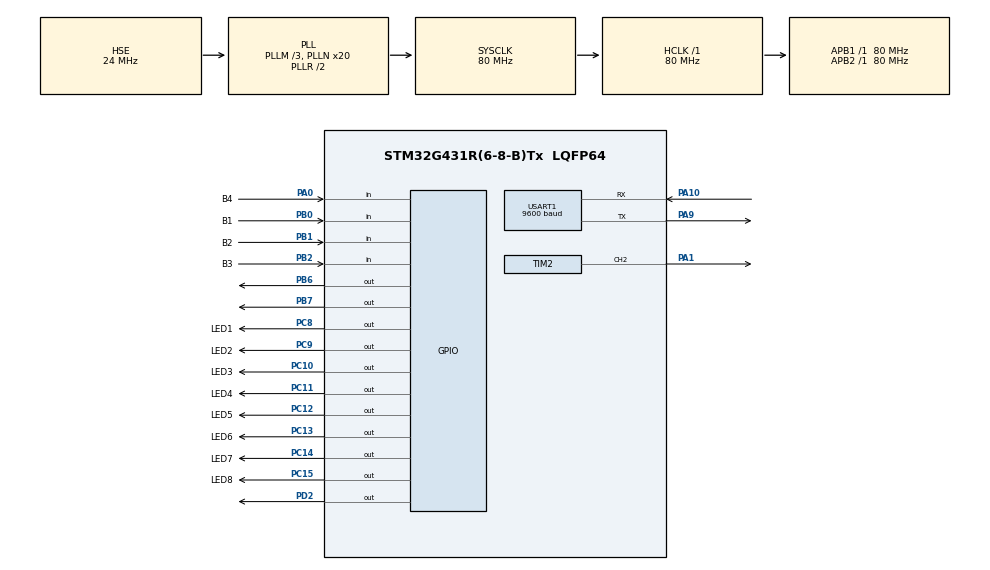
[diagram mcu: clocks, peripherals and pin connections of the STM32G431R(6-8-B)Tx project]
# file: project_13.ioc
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Mcu.Family=STM32G4
Mcu.Name=STM32G431R(6-8-B)Tx
Mcu.Package=LQFP64
NVIC.PriorityGroup=NVIC_PRIORITYGROUP_4
NVIC.TIM1_UP_TIM16_IRQn=true\:0\:0\:false\:false\:true\:true\:true
NVIC.USART1_IRQn=true\:0\:0\:false\:false\:true\:true\:true
PA0.GPIO_Label=B4
PA0.Signal=GPIO_Input
PA1.Signal=S_TIM2_CH2
PA10.Mode=Asynchronous
PA10.Signal=USART1_RX
PA9.Mode=Asynchronous
PA9.Signal=USART1_TX
PB0.GPIO_Label=B1
PB0.Signal=GPIO_Input
PB1.GPIO_Label=B2
PB1.Signal=GPIO_Input
PB2.GPIO_Label=B3
PB2.Signal=GPIO_Input
PB6.Signal=GPIO_Output
PB7.Signal=GPIO_Output
PC10.GPIO_Label=LED3
PC10.Signal=GPIO_Output
PC11.GPIO_Label=LED4
PC11.Signal=GPIO_Output
PC12.GPIO_Label=LED5
PC12.Signal=GPIO_Output
PC13.GPIO_Label=LED6
PC13.Signal=GPIO_Output
PC14-OSC32_IN.GPIO_Label=LED7
PC14-OSC32_IN.Signal=GPIO_Output
PC15-OSC32_OUT.GPIO_Label=LED8
PC15-OSC32_OUT.Signal=GPIO_Output
PC8.GPIO_Label=LED1
PC8.Signal=GPIO_Output
PC9.GPIO_Label=LED2
PC9.Signal=GPIO_Output
PD2.Signal=GPIO_Output
PF0-OSC_IN.Mode=HSE-External-Oscillator
PF0-OSC_IN.Signal=RCC_OSC_IN
PF1-OSC_OUT.Mode=HSE-External-Oscillator
PF1-OSC_OUT.Signal=RCC_OSC_OUT
ProjectManager.HeapSize=0x200
ProjectManager.StackSize=0x400
ProjectManager.TargetToolchain=MDK-ARM V5.32
RCC.ADC12Freq_Value=80000000
RCC.AHBFreq_Value=80000000
RCC.APB1Freq_Value=80000000
RCC.APB1TimFreq_Value=80000000
RCC.APB2Freq_Value=80000000
RCC.APB2TimFreq_Value=80000000
RCC.CortexFreq_Value=80000000
RCC.EXTERNAL_CLOCK_VALUE=12288000
RCC.HCLKFreq_Value=80000000
RCC.HSE_VALUE=24000000
RCC.HSI48_VALUE=48000000
RCC.HSI_VALUE=16000000
RCC.LSE_VALUE=32768
RCC.PLLM=RCC_PLLM_DIV3
RCC.PLLN=20
RCC.PLLSourceVirtual=RCC_PLLSOURCE_HSE
RCC.SYSCLKFreq_VALUE=80000000
RCC.SYSCLKSource=RCC_SYSCLKSOURCE_PLLCLK
RCC.USBFreq_Value=80000000
RCC.VCOOutputFreq_Value=160000000
SH.S_TIM2_CH2.0=TIM2_CH2,PWM Generation2 CH2
TIM1.AutoReloadPreload=TIM_AUTORELOAD_PRELOAD_ENABLE
TIM1.PeriodNoDither=10000-1
TIM1.Prescaler=80-1
TIM2.Channel-PWM\ Generation2\ CH2=TIM_CHANNEL_2
TIM2.PeriodNoDither=500-1
TIM2.Prescaler=80-1
TIM2.PulseNoDither_2=150
USART1.BaudRate=9600
USART1.VirtualMode-Asynchronous=VM_ASYNC
VP_SYS_VS_DBSignals.Mode=DisableDeadBatterySignals
VP_TIM1_VS_ClockSourceINT.Mode=Internal
VP_TIM2_VS_ClockSourceINT.Mode=Internal
board=custom

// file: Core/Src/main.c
/* USER CODE BEGIN Header */
/**
  ******************************************************************************
  * @file           : main.c
  * @brief          : Main program body
  ******************************************************************************
  * @attention
  *
  * <h2><center>&copy; Copyright (c) 2022 STMicroelectronics.
  * All rights reserved.</center></h2>
  *
  * This software component is licensed by ST under BSD 3-Clause license,
  * the "License"; You may not use this file except in compliance with the
  * License. You may obtain a copy of the License at:
  *                        opensource.org/licenses/BSD-3-Clause
  *
  ******************************************************************************
  */
/* USER CODE END Header */
#include "main.h"
#include "tim.h"
#include "usart.h"
#include "gpio.h"

/* USER CODE BEGIN Includes */
#include "stdio.h"
#include "lcd.h"
#include "string.h"
#include "i2c_hal.h"

/* USER CODE END Includes */

/* USER CODE BEGIN PTD */
typedef struct
{
	uint16_t X_sum;//库存总量
	uint16_t Y_sum;
	uint16_t X_buy;//购买数量
	uint16_t Y_buy;
	float X_price;//单价
	float Y_price;
}XYtypedef;

XYtypedef good;
/* USER CODE END PTD */

/* USER CODE BEGIN PD */
#define B1 !HAL_GPIO_ReadPin(GPIOB,B1_Pin)
#define B2 !HAL_GPIO_ReadPin(GPIOB,B2_Pin)
#define B3 !HAL_GPIO_ReadPin(GPIOB,B3_Pin)
#define B4 !HAL_GPIO_ReadPin(GPIOA,B4_Pin)
#define Freq 500
/* USER CODE END PD */

/* USER CODE BEGIN PV */
uint8_t str[50];
uint8_t RX[20];
uint8_t Lcd_mode = 0;//三个模式，0、1、2
uint16_t T_PWM = 500;//按下B4输出30%PWM5秒
uint8_t T_Led2 = 10;//以0.1秒为间隔闪烁
uint8_t flag_B4 = 0;
uint8_t flag_Led2 = 0;
float price = 2.0;
float Z = 0;//购买的商品总价
/* USER CODE END PV */

void SystemClock_Config(void);

/* USER CODE BEGIN 0 */
//重定向函数
int fputc(int ch, FILE *stream)
{
    while(!(USART1->ISR & (1<<7)));
    USART1->TDR = (uint8_t) ch;
    return ch;
}

//关闭LED
void LED_Close(void)
{
	HAL_GPIO_WritePin(GPIOC,LED1_Pin|LED2_Pin|LED3_Pin|LED4_Pin|LED5_Pin|LED6_Pin|LED7_Pin|LED8_Pin,GPIO_PIN_SET);
	HAL_GPIO_WritePin(GPIOD,GPIO_PIN_2,GPIO_PIN_SET);
	HAL_GPIO_WritePin(GPIOD,GPIO_PIN_2,GPIO_PIN_RESET);
}

void LED1(void)
{
	HAL_GPIO_WritePin(GPIOC,LED1_Pin,GPIO_PIN_RESET);
	HAL_GPIO_WritePin(GPIOC,LED2_Pin|LED3_Pin|LED4_Pin|LED5_Pin|LED6_Pin|LED7_Pin|LED8_Pin,GPIO_PIN_SET);
	HAL_GPIO_WritePin(GPIOD,GPIO_PIN_2,GPIO_PIN_SET);
	HAL_GPIO_WritePin(GPIOD,GPIO_PIN_2,GPIO_PIN_RESET);
}

void LED2(void)
{
	switch(flag_Led2)
	{
		case 0:
			HAL_GPIO_WritePin(GPIOC,LED2_Pin,GPIO_PIN_SET);
			break;
		case 1:
			HAL_GPIO_WritePin(GPIOC,LED2_Pin,GPIO_PIN_RESET);
			break;
	}
	if(flag_B4)
	{
		HAL_GPIO_WritePin(GPIOC,LED3_Pin|LED4_Pin|LED5_Pin|LED6_Pin|LED7_Pin|LED8_Pin,GPIO_PIN_SET);
	}else HAL_GPIO_WritePin(GPIOC,LED1_Pin|LED3_Pin|LED4_Pin|LED5_Pin|LED6_Pin|LED7_Pin|LED8_Pin,GPIO_PIN_SET);

	HAL_GPIO_WritePin(GPIOD,GPIO_PIN_2,GPIO_PIN_SET);
	HAL_GPIO_WritePin(GPIOD,GPIO_PIN_2,GPIO_PIN_RESET);
}

void good_Init(void)
{
	good.X_buy = 0;
	good.Y_buy = 0;
	good.X_sum = 10;
	good.Y_sum = 10;
	good.X_price = 1.0;
	good.Y_price = 1.0;
}

//LCD显示函数

void Lcd1(void)
{
	LCD_DisplayStringLine(Line1,(uint8_t*)"        SHOP         ");

	sprintf((char*)str,"     X:%d       ",good.X_buy);
	LCD_DisplayStringLine(Line3,str);

	sprintf((char*)str,"     Y:%d       ",good.Y_buy);
	LCD_DisplayStringLine(Line4,str);
}

void Lcd2(void)
{
	LCD_DisplayStringLine(Line1,(uint8_t*)"        PRICE         ");

	sprintf((char*)str,"     X:%0.1f       ",good.X_price);
	LCD_DisplayStringLine(Line3,str);

	sprintf((char*)str,"     Y:%0.1f       ",good.Y_price);
	LCD_DisplayStringLine(Line4,str);
}

void Lcd3(void)
{
	LCD_DisplayStringLine(Line1,(uint8_t*)"        REP         ");

	sprintf((char*)str,"     X:%d       ",good.X_sum);
	LCD_DisplayStringLine(Line3,str);

	sprintf((char*)str,"     Y:%d       ",good.Y_sum);
	LCD_DisplayStringLine(Line4,str);
}

void HAL_TIM_PeriodElapsedCallback(TIM_HandleTypeDef *htim)
{
	if(flag_B4)
	{
		__HAL_TIM_SET_COMPARE(&htim2,TIM_CHANNEL_2,Freq*0.3);
		LED1();
		if(--T_PWM == 0)
		{
			flag_B4 = 0;
			T_PWM = 500;
			LED_Close();
			__HAL_TIM_SET_COMPARE(&htim2,TIM_CHANNEL_2,Freq*0.05);
		}
	}

	if((good.X_sum == 0) && (good.Y_sum == 0))
	{
		if(--T_Led2 == 0)
		{
			flag_Led2 = !flag_Led2;
		  LED2();
			T_Led2 = 10;
		}
	}else
	{
		flag_Led2 = 0;
		LED2();
	}
}

//串口回调函数
void HAL_UART_RxCpltCallback(UART_HandleTypeDef *huart)
{
	if(RX[0] == '?')
	{
		printf("X:%0.1f,Y:%0.1f\r\n",good.X_price,good.Y_price);
	}

	HAL_UART_Receive_IT(&huart1,RX,1);
}

//EEPROM读函数

void EEPROM_R(void)
{
	good.X_sum = EEPROM_Read(0x00);
	good.Y_sum = EEPROM_Read(0x01);
	good.X_price = (float)EEPROM_Read(0x02)/10;
	good.Y_price = (float)EEPROM_Read(0x03)/10;
}

//按键扫描函数
void Keyscan(void)
{
	if(B1)
	{
		printf("B1_Down!\r\n");
		if(++Lcd_mode == 3)
		{
			Lcd_mode = 0;
		}
		while(B1);
	}
	if(B2)
	{
		printf("B2_Down!\r\n");
		switch(Lcd_mode)
		{
			case 0:
			if(good.X_buy == good.X_sum)
			{
				good.X_buy = 0;
			}else good.X_buy++;
				break;
			case 1:
				if(good.X_price >= 2.0f)
				{
					good.X_price = 1.0;
					EEPROM_Write(0x02,(uint8_t)(good.X_price*10));
				}else
				{
					good.X_price += 0.1f;
					EEPROM_Write(0x02,(uint8_t)(good.X_price*10));
				}
				break;
			case 2:
				good.X_sum++;
				EEPROM_Write(0x00,good.X_sum);
				break;
		}
		while(B2);
	}
	if(B3)
	{
		printf("B3_Down!\r\n");
		switch(Lcd_mode)
		{
			case 0:
			 if(good.Y_buy == good.Y_sum)
			 {
					good.Y_buy = 0;
			 }else good.Y_buy++;
				break;
			case 1:
				if(good.Y_price >= 2.0f)
				{
					good.Y_price = 1.0;
					EEPROM_Write(0x03,(uint8_t)(good.Y_price*10));
				}else
				{
					good.Y_price += 0.1f;
					EEPROM_Write(0x03,(uint8_t)(good.Y_price*10));
				}
				break;
			case 2:
				good.Y_sum++;
				EEPROM_Write(0x01,good.Y_sum);
				break;
		}
		while(B3);
	}
	if(B4)
	{
		printf("B4_Down!\r\n");
		if(Lcd_mode == 0)
		{
			flag_B4 = 1;
			good.X_sum -= good.X_buy;
			good.Y_sum -= good.Y_buy;
			EEPROM_Write(0x00,good.X_sum);
			Z = (good.X_buy*good.X_price) + (good.Y_buy*good.Y_price);
			printf("X:%d,Y:%d,Z:%0.1f\r\n",good.X_buy,good.Y_buy,Z);
			good.X_buy = 0;
			good.Y_buy = 0;
			EEPROM_Write(0x01,good.Y_sum);
		}
		while(B4);
	}
}
/* USER CODE END 0 */

int main(void)
{

  /* MCU Configuration--------------------------------------------------------*/

  /* Reset of all peripherals, Initializes the Flash interface and the Systick. */
  HAL_Init();

  /* Configure the system clock */
  SystemClock_Config();

  /* Initialize all configured peripherals */
  MX_GPIO_Init();
  MX_TIM1_Init();
  MX_TIM2_Init();
  MX_USART1_UART_Init();
  /* USER CODE BEGIN 2 */

	I2CInit();
	LCD_Init();
	LCD_Clear(Black);
	LCD_SetBackColor(Black);
	LCD_SetTextColor(White);

	good_Init();
	printf("USART OK!\r\n");

	LED_Close();
	EEPROM_R();
	HAL_TIM_PWM_Start(&htim2,TIM_CHANNEL_2);
	__HAL_TIM_SET_COMPARE(&htim2,TIM_CHANNEL_2,Freq*0.05);

	HAL_TIM_Base_Start_IT(&htim1);

	HAL_UART_Receive_IT(&huart1,RX,1);
  /* USER CODE END 2 */

  /* Infinite loop */
  while (1)
  {
		Keyscan();
		switch(Lcd_mode)
		{
			case 0:
				Lcd1();
				break;
			case 1:
				Lcd2();
				break;
			case 2:
				Lcd3();
				break;
		}
  }
}

void SystemClock_Config(void)
{
  RCC_OscInitTypeDef RCC_OscInitStruct = {0};
  RCC_ClkInitTypeDef RCC_ClkInitStruct = {0};
  RCC_PeriphCLKInitTypeDef PeriphClkInit = {0};

  /** Configure the main internal regulator output voltage
  */
  HAL_PWREx_ControlVoltageScaling(PWR_REGULATOR_VOLTAGE_SCALE1);
  /** Initializes the RCC Oscillators according to the specified parameters
  * in the RCC_OscInitTypeDef structure.
  */
  RCC_OscInitStruct.OscillatorType = RCC_OSCILLATORTYPE_HSE;
  RCC_OscInitStruct.HSEState = RCC_HSE_ON;
  RCC_OscInitStruct.PLL.PLLState = RCC_PLL_ON;
  RCC_OscInitStruct.PLL.PLLSource = RCC_PLLSOURCE_HSE;
  RCC_OscInitStruct.PLL.PLLM = RCC_PLLM_DIV3;
  RCC_OscInitStruct.PLL.PLLN = 20;
  RCC_OscInitStruct.PLL.PLLP = RCC_PLLP_DIV2;
  RCC_OscInitStruct.PLL.PLLQ = RCC_PLLQ_DIV2;
  RCC_OscInitStruct.PLL.PLLR = RCC_PLLR_DIV2;
  if (HAL_RCC_OscConfig(&RCC_OscInitStruct) != HAL_OK)
  {
    Error_Handler();
  }
  /** Initializes the CPU, AHB and APB buses clocks
  */
  RCC_ClkInitStruct.ClockType = RCC_CLOCKTYPE_HCLK|RCC_CLOCKTYPE_SYSCLK
                              |RCC_CLOCKTYPE_PCLK1|RCC_CLOCKTYPE_PCLK2;
  RCC_ClkInitStruct.SYSCLKSource = RCC_SYSCLKSOURCE_PLLCLK;
  RCC_ClkInitStruct.AHBCLKDivider = RCC_SYSCLK_DIV1;
  RCC_ClkInitStruct.APB1CLKDivider = RCC_HCLK_DIV1;
  RCC_ClkInitStruct.APB2CLKDivider = RCC_HCLK_DIV1;

  if (HAL_RCC_ClockConfig(&RCC_ClkInitStruct, FLASH_LATENCY_2) != HAL_OK)
  {
    Error_Handler();
  }
  /** Initializes the peripherals clocks
  */
  PeriphClkInit.PeriphClockSelection = RCC_PERIPHCLK_USART1;
  PeriphClkInit.Usart1ClockSelection = RCC_USART1CLKSOURCE_PCLK2;
  if (HAL_RCCEx_PeriphCLKConfig(&PeriphClkInit) != HAL_OK)
  {
    Error_Handler();
  }
}

void Error_Handler(void)
{
  __disable_irq();
  while (1)
  {
  }
}

/************************ (C) COPYRIGHT STMicroelectronics *****END OF FILE****/
